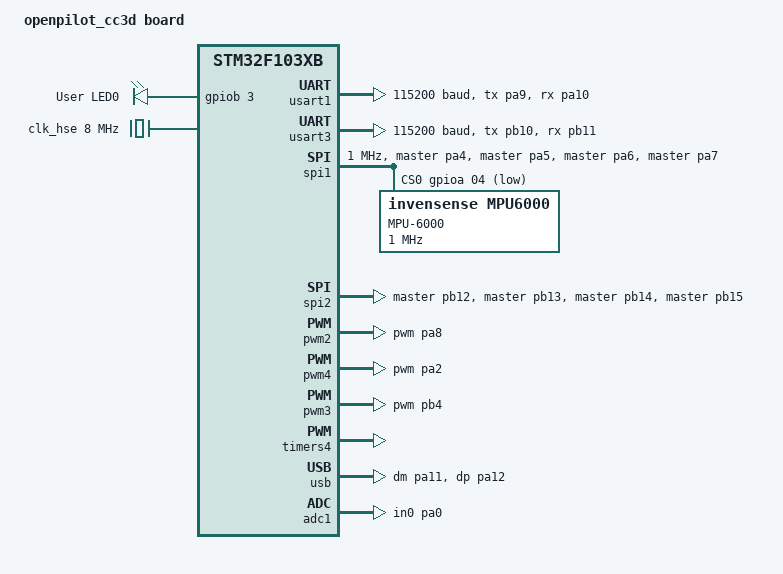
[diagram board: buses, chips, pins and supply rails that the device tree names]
/*
 * Copyright (c) 2021 Jonathan Hahn
 *
 * SPDX-License-Identifier: Apache-2.0
 */

/dts-v1/;
#include <st/f1/stm32f103Xb.dtsi>
#include <st/f1/stm32f103c(8-b)tx-pinctrl.dtsi>

/ {
	model = "openpilot_cc3d board";
	compatible = "openpilot,cc3d";

	chosen {
		zephyr,console = &usart3;
		zephyr,shell-uart = &usart3;
		zephyr,sram = &sram0;
		zephyr,flash = &flash0;
	};

	leds {
		compatible = "gpio-leds";
		led0: led_0 {
			gpios = <&gpiob 3 GPIO_ACTIVE_HIGH>;
			label = "User LED0";
		};
	};

	aliases {
		userled0 = &led0;
		rc-uart = &usart1;
	};
};

&clk_hse {
	clock-frequency = <DT_FREQ_M(8)>;
	status = "okay";
};

&pll {
	mul = <9>;
	clocks = <&clk_hse>;
	status = "okay";
};

&rcc {
	clocks = <&pll>;
	clock-frequency = <DT_FREQ_M(72)>;
	ahb-prescaler = <1>;
	apb1-prescaler = <2>;
	apb2-prescaler = <1>;
};

&usart1 {
	pinctrl-0 = <&usart1_tx_pa9 &usart1_rx_pa10>;
	pinctrl-names = "default";
	current-speed = <115200>;
	status = "okay";
};

&usart3 {
	pinctrl-0 = <&usart3_tx_pb10 &usart3_rx_pb11>;
	pinctrl-names = "default";
	current-speed = <115200>;
	status = "okay";
};

&spi1 {
	pinctrl-0 = <&spi1_nss_master_pa4 &spi1_sck_master_pa5
					&spi1_miso_master_pa6 &spi1_mosi_master_pa7>;
	pinctrl-names = "default";
	cs-gpios = <&gpioa 04 GPIO_ACTIVE_LOW>;
	clock-frequency = < DT_FREQ_M(1) >;
	status = "okay";

	imu: mpu6000@0 {
		compatible = "invensense,mpu6000";
		reg = <0>;
		spi-max-frequency = < DT_FREQ_M(1) >;
		label = "MPU-6000";
		status = "okay";
	};
};

&spi2 {
	pinctrl-0 = <&spi2_nss_master_pb12 &spi2_sck_master_pb13
		     &spi2_miso_master_pb14 &spi2_mosi_master_pb15>;
	pinctrl-names = "default";
	status = "okay";
};

&timers1 {
	pwm2: pwm {
		status = "okay";
		pinctrl-0 = <&tim1_ch1_pwm_pa8>;
		pinctrl-names = "default";
	};
};

&timers2 {
	pwm4: pwm {
		status = "okay";
		pinctrl-0 = <&tim2_ch3_pwm_pa2>;
		pinctrl-names = "default";
	};
};

&timers3 {
	pwm3: pwm {
		status = "okay";
		pinctrl-0 = <&tim3_ch1_pwm_pb4>;
		pinctrl-names = "default";
	};
};

&timers4 {
	status = "okay";
	pwm1: pwm {
		status = "okay";
		pinctrl-0 = <&tim4_ch4_pwm_pb9 &tim4_ch3_pwm_pb8 &tim4_ch2_pwm_pb7>;
		pinctrl-names = "default";
	};
};

&usb {
	pinctrl-0 = <&usb_dm_pa11 &usb_dp_pa12>;
	pinctrl-names = "default";
};

&adc1 {
	pinctrl-0 = <&adc1_in0_pa0>;
	pinctrl-names = "default";
};
